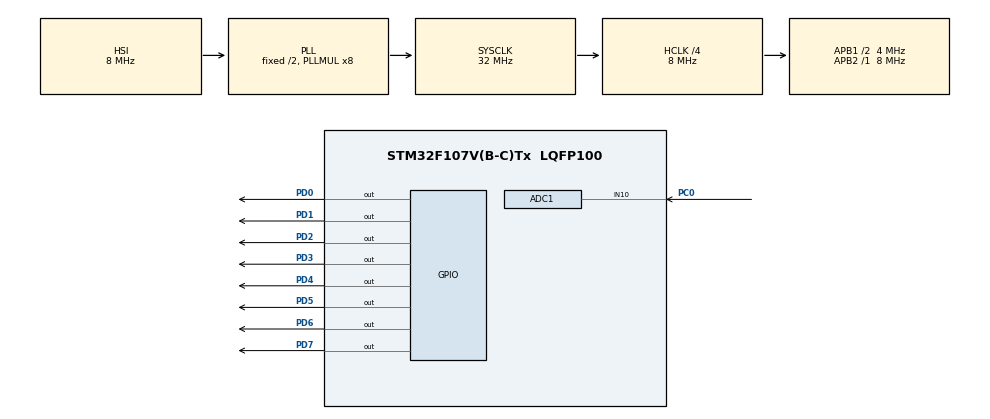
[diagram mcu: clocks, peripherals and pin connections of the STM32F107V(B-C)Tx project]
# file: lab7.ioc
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ADC1.Channel-8\#ChannelRegularConversion=ADC_CHANNEL_10
ADC1.NbrOfConversionFlag=1
ADC1.Rank-8\#ChannelRegularConversion=1
ADC1.SamplingTime-8\#ChannelRegularConversion=ADC_SAMPLETIME_1CYCLE_5
ADC1.master=1
Mcu.Family=STM32F1
Mcu.Name=STM32F107V(B-C)Tx
Mcu.Package=LQFP100
NVIC.PriorityGroup=NVIC_PRIORITYGROUP_4
PC0.Signal=ADCx_IN10
PD0.Signal=GPIO_Output
PD1.Signal=GPIO_Output
PD2.Signal=GPIO_Output
PD3.Signal=GPIO_Output
PD4.Signal=GPIO_Output
PD5.Signal=GPIO_Output
PD6.Signal=GPIO_Output
PD7.PinState=GPIO_PIN_RESET
PD7.Signal=GPIO_Output
ProjectManager.HeapSize=0x200
ProjectManager.StackSize=0x400
ProjectManager.TargetToolchain=STM32CubeIDE
RCC.ADCPresc=RCC_ADCPCLK2_DIV6
RCC.AHBCLKDivider=RCC_SYSCLK_DIV4
RCC.AHBFreq_Value=8000000
RCC.APB1CLKDivider=RCC_HCLK_DIV2
RCC.APB1Freq_Value=4000000
RCC.APB1TimFreq_Value=8000000
RCC.APB2Freq_Value=8000000
RCC.APB2TimFreq_Value=8000000
RCC.HCLKFreq_Value=8000000
RCC.PLLMUL=RCC_PLL_MUL8
RCC.SYSCLKFreq_VALUE=32000000
RCC.SYSCLKSource=RCC_SYSCLKSOURCE_PLLCLK
RCC.USBFreq_Value=21333333.333333332
SH.ADCx_IN10.0=ADC1_IN10,IN10
VP_SYS_VS_ND.Mode=No_Debug
board=custom

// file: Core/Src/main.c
/* USER CODE BEGIN Header */
/**
 ******************************************************************************
 * @file           : main.c
 * @brief          : Main program body
 ******************************************************************************
 * @attention
 *
 * <h2><center>&copy; Copyright (c) 2020 STMicroelectronics.
 * All rights reserved.</center></h2>
 *
 * This software component is licensed by ST under BSD 3-Clause license,
 * the "License"; You may not use this file except in compliance with the
 * License. You may obtain a copy of the License at:
 *                        opensource.org/licenses/BSD-3-Clause
 *
 ******************************************************************************
 */
/* USER CODE END Header */

#include "main.h"

ADC_HandleTypeDef hadc1;

void SystemClock_Config(void);
static void MX_GPIO_Init(void);
static void MX_ADC1_Init(void);

int main(void)
{

	/* MCU Configuration--------------------------------------------------------*/

	/* Reset of all peripherals, Initializes the Flash interface and the Systick. */
	HAL_Init();

	/* Configure the system clock */
	SystemClock_Config();

	/* Initialize all configured peripherals */
	MX_GPIO_Init();
	MX_ADC1_Init();

	/* Infinite loop */
	/* USER CODE BEGIN WHILE */
	while (1)
	{
		uint16_t analogRead;
		/* USER CODE END WHILE */

		/* USER CODE BEGIN 3 */

		HAL_ADC_Start(&hadc1);
		if (HAL_ADC_PollForConversion(&hadc1, 1000) == HAL_OK) {
			analogRead = HAL_ADC_GetValue(&hadc1);
			if (analogRead < 400) {
				analogRead == 400;
			} if (analogRead > 4000) {
				analogRead == 4000;
			}
		}

		HAL_GPIO_WritePin(GPIOD, GPIO_PIN_0, GPIO_PIN_SET);
		HAL_Delay(400000/analogRead);
		HAL_GPIO_WritePin(GPIOD, GPIO_PIN_0, GPIO_PIN_RESET);
		HAL_GPIO_WritePin(GPIOD, GPIO_PIN_1, GPIO_PIN_SET);
		HAL_Delay(400000/analogRead);
		HAL_GPIO_WritePin(GPIOD, GPIO_PIN_1, GPIO_PIN_RESET);
		HAL_GPIO_WritePin(GPIOD, GPIO_PIN_2, GPIO_PIN_SET);
		HAL_Delay(400000/analogRead);
		HAL_GPIO_WritePin(GPIOD, GPIO_PIN_2, GPIO_PIN_RESET);
		HAL_GPIO_WritePin(GPIOD, GPIO_PIN_3, GPIO_PIN_SET);
		HAL_Delay(400000/analogRead);
		HAL_GPIO_WritePin(GPIOD, GPIO_PIN_3, GPIO_PIN_RESET);
		HAL_GPIO_WritePin(GPIOD, GPIO_PIN_4, GPIO_PIN_SET);
		HAL_Delay(400000/analogRead);
		HAL_GPIO_WritePin(GPIOD, GPIO_PIN_4, GPIO_PIN_RESET);
		HAL_GPIO_WritePin(GPIOD, GPIO_PIN_5, GPIO_PIN_SET);
		HAL_Delay(400000/analogRead);
		HAL_GPIO_WritePin(GPIOD, GPIO_PIN_5, GPIO_PIN_RESET);
		HAL_GPIO_WritePin(GPIOD, GPIO_PIN_6, GPIO_PIN_SET);
		HAL_Delay(400000/analogRead);
		HAL_GPIO_WritePin(GPIOD, GPIO_PIN_6, GPIO_PIN_RESET);
		HAL_GPIO_WritePin(GPIOD, GPIO_PIN_7, GPIO_PIN_SET);
		HAL_Delay(400000/analogRead);
		HAL_GPIO_WritePin(GPIOD, GPIO_PIN_7, GPIO_PIN_RESET);
		HAL_GPIO_WritePin(GPIOD, GPIO_PIN_6, GPIO_PIN_SET);
		HAL_Delay(400000/analogRead);
		HAL_GPIO_WritePin(GPIOD, GPIO_PIN_6, GPIO_PIN_RESET);
		HAL_GPIO_WritePin(GPIOD, GPIO_PIN_5, GPIO_PIN_SET);
		HAL_Delay(400000/analogRead);
		HAL_GPIO_WritePin(GPIOD, GPIO_PIN_5, GPIO_PIN_RESET);
		HAL_GPIO_WritePin(GPIOD, GPIO_PIN_4, GPIO_PIN_SET);
		HAL_Delay(400000/analogRead);
		HAL_GPIO_WritePin(GPIOD, GPIO_PIN_4, GPIO_PIN_RESET);
		HAL_GPIO_WritePin(GPIOD, GPIO_PIN_3, GPIO_PIN_SET);
		HAL_Delay(400000/analogRead);
		HAL_GPIO_WritePin(GPIOD, GPIO_PIN_3, GPIO_PIN_RESET);
		HAL_GPIO_WritePin(GPIOD, GPIO_PIN_2, GPIO_PIN_SET);
		HAL_Delay(400000/analogRead);
		HAL_GPIO_WritePin(GPIOD, GPIO_PIN_2, GPIO_PIN_RESET);
		HAL_GPIO_WritePin(GPIOD, GPIO_PIN_1, GPIO_PIN_SET);
		HAL_Delay(400000/analogRead);
		HAL_GPIO_WritePin(GPIOD, GPIO_PIN_1, GPIO_PIN_RESET);
		HAL_GPIO_WritePin(GPIOD, GPIO_PIN_0, GPIO_PIN_SET);
		HAL_Delay(400000/analogRead);
		HAL_GPIO_WritePin(GPIOD, GPIO_PIN_0, GPIO_PIN_RESET);

		/*for (int i = 0; i<8; i++) {
		  HAL_GPIO_WritePin(GPIOD, GPIO_PIN_(i), GPIO_PIN_SET);
	      HAL_GPIO_WritePin(GPIOD, GPIO_PIN_(i), GPIO_PIN_RESET);
	      HAL_Delay(200);
	  }*/

		/*	  if(analogRead > 650 && analogRead < 4010) {
		  HAL_GPIO_WritePin(GPIOD, GPIO_PIN_0, GPIO_PIN_SET);
	  } else {
		  HAL_GPIO_WritePin(GPIOD, GPIO_PIN_0, GPIO_PIN_RESET);
	  }
	  //sprintf('%i\r\n',analogRead);
	  HAL_Delay(200); */

	}
	/* USER CODE END 3 */
}

void SystemClock_Config(void)
{
	RCC_OscInitTypeDef RCC_OscInitStruct = {0};
	RCC_ClkInitTypeDef RCC_ClkInitStruct = {0};
	RCC_PeriphCLKInitTypeDef PeriphClkInit = {0};

	/** Initializes the CPU, AHB and APB busses clocks
	 */
	RCC_OscInitStruct.OscillatorType = RCC_OSCILLATORTYPE_HSI;
	RCC_OscInitStruct.HSIState = RCC_HSI_ON;
	RCC_OscInitStruct.HSICalibrationValue = RCC_HSICALIBRATION_DEFAULT;
	RCC_OscInitStruct.Prediv1Source = RCC_PREDIV1_SOURCE_HSE;
	RCC_OscInitStruct.PLL.PLLState = RCC_PLL_ON;
	RCC_OscInitStruct.PLL.PLLSource = RCC_PLLSOURCE_HSI_DIV2;
	RCC_OscInitStruct.PLL.PLLMUL = RCC_PLL_MUL8;
	RCC_OscInitStruct.PLL2.PLL2State = RCC_PLL_NONE;
	if (HAL_RCC_OscConfig(&RCC_OscInitStruct) != HAL_OK)
	{
		Error_Handler();
	}
	/** Initializes the CPU, AHB and APB busses clocks
	 */
	RCC_ClkInitStruct.ClockType = RCC_CLOCKTYPE_HCLK|RCC_CLOCKTYPE_SYSCLK
			|RCC_CLOCKTYPE_PCLK1|RCC_CLOCKTYPE_PCLK2;
	RCC_ClkInitStruct.SYSCLKSource = RCC_SYSCLKSOURCE_PLLCLK;
	RCC_ClkInitStruct.AHBCLKDivider = RCC_SYSCLK_DIV4;
	RCC_ClkInitStruct.APB1CLKDivider = RCC_HCLK_DIV2;
	RCC_ClkInitStruct.APB2CLKDivider = RCC_HCLK_DIV1;

	if (HAL_RCC_ClockConfig(&RCC_ClkInitStruct, FLASH_LATENCY_1) != HAL_OK)
	{
		Error_Handler();
	}
	PeriphClkInit.PeriphClockSelection = RCC_PERIPHCLK_ADC;
	PeriphClkInit.AdcClockSelection = RCC_ADCPCLK2_DIV6;
	if (HAL_RCCEx_PeriphCLKConfig(&PeriphClkInit) != HAL_OK)
	{
		Error_Handler();
	}
	/** Configure the Systick interrupt time
	 */
	__HAL_RCC_PLLI2S_ENABLE();
}

static void MX_ADC1_Init(void)
{

	ADC_ChannelConfTypeDef sConfig = {0};

	/** Common config
	 */
	hadc1.Instance = ADC1;
	hadc1.Init.ScanConvMode = ADC_SCAN_DISABLE;
	hadc1.Init.ContinuousConvMode = DISABLE;
	hadc1.Init.DiscontinuousConvMode = DISABLE;
	hadc1.Init.ExternalTrigConv = ADC_SOFTWARE_START;
	hadc1.Init.DataAlign = ADC_DATAALIGN_RIGHT;
	hadc1.Init.NbrOfConversion = 1;
	if (HAL_ADC_Init(&hadc1) != HAL_OK)
	{
		Error_Handler();
	}
	/** Configure Regular Channel
	 */
	sConfig.Channel = ADC_CHANNEL_10;
	sConfig.Rank = ADC_REGULAR_RANK_1;
	sConfig.SamplingTime = ADC_SAMPLETIME_1CYCLE_5;
	if (HAL_ADC_ConfigChannel(&hadc1, &sConfig) != HAL_OK)
	{
		Error_Handler();
	}

}

static void MX_GPIO_Init(void)
{
	GPIO_InitTypeDef GPIO_InitStruct = {0};

	/* GPIO Ports Clock Enable */
	__HAL_RCC_GPIOC_CLK_ENABLE();
	__HAL_RCC_GPIOD_CLK_ENABLE();

	/*Configure GPIO pin Output Level */
	HAL_GPIO_WritePin(GPIOD, GPIO_PIN_0|GPIO_PIN_1|GPIO_PIN_2|GPIO_PIN_3
			|GPIO_PIN_4|GPIO_PIN_5|GPIO_PIN_6|GPIO_PIN_7, GPIO_PIN_RESET);

	/*Configure GPIO pins : PD0 PD1 PD2 PD3
                           PD4 PD5 PD6 PD7 */
	GPIO_InitStruct.Pin = GPIO_PIN_0|GPIO_PIN_1|GPIO_PIN_2|GPIO_PIN_3
			|GPIO_PIN_4|GPIO_PIN_5|GPIO_PIN_6|GPIO_PIN_7;
	GPIO_InitStruct.Mode = GPIO_MODE_OUTPUT_PP;
	GPIO_InitStruct.Pull = GPIO_NOPULL;
	GPIO_InitStruct.Speed = GPIO_SPEED_FREQ_LOW;
	HAL_GPIO_Init(GPIOD, &GPIO_InitStruct);

}

void Error_Handler(void)
{
}

/************************ (C) COPYRIGHT STMicroelectronics *****END OF FILE****/
